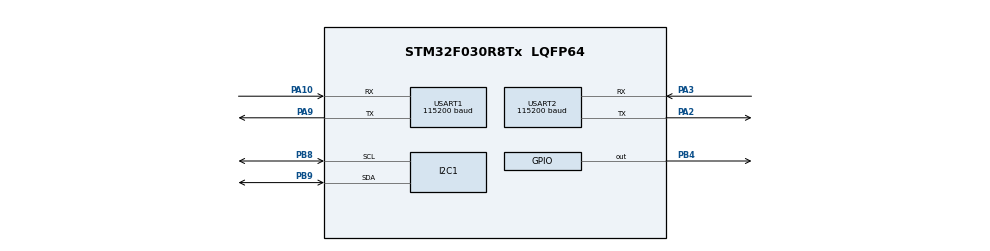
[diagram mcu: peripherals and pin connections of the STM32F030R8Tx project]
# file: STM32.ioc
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FREERTOS.Tasks01=defaultTask,0,512,StartDefaultTask,Default,NULL,Dynamic,NULL,NULL
FREERTOS.configUSE_TIMERS=0
Mcu.Family=STM32F0
Mcu.Name=STM32F030R8Tx
Mcu.Package=LQFP64
NVIC.RTC_IRQn=true\:3\:0\:false\:false\:true\:true\:true\:true
NVIC.TIM1_BRK_UP_TRG_COM_IRQn=true\:0\:0\:false\:false\:true\:false\:false\:true
NVIC.TimeBase=TIM1_BRK_UP_TRG_COM_IRQn
NVIC.TimeBaseIP=TIM1
PA10.Mode=Asynchronous
PA10.Signal=USART1_RX
PA2.Mode=Asynchronous
PA2.Signal=USART2_TX
PA3.Mode=Asynchronous
PA3.Signal=USART2_RX
PA9.Mode=Asynchronous
PA9.Signal=USART1_TX
PB4.Signal=GPIO_Output
PB8.Mode=I2C
PB8.Signal=I2C1_SCL
PB9.Mode=I2C
PB9.Signal=I2C1_SDA
ProjectManager.HeapSize=0x200
ProjectManager.StackSize=0x400
ProjectManager.TargetToolchain=SW4STM32
RTC.Alarm-Alarm\ A=RTC_ALARM_A
RTC.AlarmMaskDateWeekDay-Alarm\ A=RTC_ALARMMASK_DATEWEEKDAY
RTC.AlarmMaskHours-Alarm\ A=RTC_ALARMMASK_HOURS
RTC.Format=RTC_FORMAT_BIN
RTC.Minutes_A-Alarm\ A=1
RTC.Seconds_A-Alarm\ A=13
USART1.BaudRate=115200
USART1.VirtualMode-Asynchronous=VM_ASYNC
USART2.BaudRate=115200
USART2.VirtualMode-Asynchronous=VM_ASYNC
VP_FREERTOS_VS_CMSIS_V1.Mode=CMSIS_V1
VP_RTC_VS_RTC_Activate.Mode=RTC_Enabled
VP_RTC_VS_RTC_Alarm_A_Intern.Mode=Alarm A
VP_RTC_VS_RTC_Calendar.Mode=RTC_Calendar
VP_SYS_VS_tim1.Mode=TIM1
board=custom

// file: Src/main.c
/* USER CODE BEGIN Header */
/**
  ******************************************************************************
  * @file           : main.c
  * @brief          : Main program body
  ******************************************************************************
  * @attention
  *
  * <h2><center>&copy; Copyright (c) 2019 STMicroelectronics.
  * All rights reserved.</center></h2>
  *
  * This software component is licensed by ST under Ultimate Liberty license
  * SLA0044, the "License"; You may not use this file except in compliance with
  * the License. You may obtain a copy of the License at:
  *                             www.st.com/SLA0044
  *
  ******************************************************************************
  */
/* USER CODE END Header */

#include "main.h"
#include "cmsis_os.h"

/* USER CODE BEGIN Includes */

#include "SI7021.h"
#include "BMP280.h"
#include "ESP8266.h"

#include <string.h>
/* USER CODE END Includes */

/* USER CODE BEGIN PD */
#define PIN_ESP_WAKEUP GPIOB, GPIO_PIN_4
#define ESP_WAKEUP_TIME 7000

#define API_DOMAIN "weatherstationc.000webhostapp.com"
#define API_PORT 80
#define API_KEY "7JCUeYTF"

/* USER CODE END PD */

I2C_HandleTypeDef hi2c1;

RTC_HandleTypeDef hrtc;

UART_HandleTypeDef huart1;
UART_HandleTypeDef huart2;

osThreadId defaultTaskHandle;

void SystemClock_Config(void);
static void MX_GPIO_Init(void);
static void MX_I2C1_Init(void);
static void MX_USART1_UART_Init(void);
static void MX_USART2_UART_Init(void);
static void MX_RTC_Init(void);
void StartDefaultTask(void const * argument);

int main(void)
{

  /* MCU Configuration--------------------------------------------------------*/

  /* Reset of all peripherals, Initializes the Flash interface and the Systick. */
  HAL_Init();

  /* Configure the system clock */
  SystemClock_Config();

  /* Initialize all configured peripherals */
  MX_GPIO_Init();
  MX_I2C1_Init();
  MX_USART1_UART_Init();
  MX_USART2_UART_Init();
  MX_RTC_Init();

  /* Create the thread(s) */
  /* definition and creation of defaultTask */
  osThreadDef(defaultTask, StartDefaultTask, osPriorityNormal, 0, 512);
  defaultTaskHandle = osThreadCreate(osThread(defaultTask), NULL);

  /* Start scheduler */
  osKernelStart();

  /* We should never get here as control is now taken by the scheduler */

  /* Infinite loop */
  while (1)
  {

  }
}

void SystemClock_Config(void)
{
  RCC_OscInitTypeDef RCC_OscInitStruct = {0};
  RCC_ClkInitTypeDef RCC_ClkInitStruct = {0};
  RCC_PeriphCLKInitTypeDef PeriphClkInit = {0};

  /** Initializes the CPU, AHB and APB busses clocks
  */
  RCC_OscInitStruct.OscillatorType = RCC_OSCILLATORTYPE_HSI|RCC_OSCILLATORTYPE_LSI;
  RCC_OscInitStruct.HSIState = RCC_HSI_ON;
  RCC_OscInitStruct.HSICalibrationValue = RCC_HSICALIBRATION_DEFAULT;
  RCC_OscInitStruct.LSIState = RCC_LSI_ON;
  RCC_OscInitStruct.PLL.PLLState = RCC_PLL_NONE;
  if (HAL_RCC_OscConfig(&RCC_OscInitStruct) != HAL_OK)
  {
    Error_Handler();
  }
  /** Initializes the CPU, AHB and APB busses clocks
  */
  RCC_ClkInitStruct.ClockType = RCC_CLOCKTYPE_HCLK|RCC_CLOCKTYPE_SYSCLK
                              |RCC_CLOCKTYPE_PCLK1;
  RCC_ClkInitStruct.SYSCLKSource = RCC_SYSCLKSOURCE_HSI;
  RCC_ClkInitStruct.AHBCLKDivider = RCC_SYSCLK_DIV1;
  RCC_ClkInitStruct.APB1CLKDivider = RCC_HCLK_DIV1;

  if (HAL_RCC_ClockConfig(&RCC_ClkInitStruct, FLASH_LATENCY_0) != HAL_OK)
  {
    Error_Handler();
  }
  PeriphClkInit.PeriphClockSelection = RCC_PERIPHCLK_USART1|RCC_PERIPHCLK_I2C1
                              |RCC_PERIPHCLK_RTC;
  PeriphClkInit.Usart1ClockSelection = RCC_USART1CLKSOURCE_PCLK1;
  PeriphClkInit.I2c1ClockSelection = RCC_I2C1CLKSOURCE_HSI;
  PeriphClkInit.RTCClockSelection = RCC_RTCCLKSOURCE_LSI;
  if (HAL_RCCEx_PeriphCLKConfig(&PeriphClkInit) != HAL_OK)
  {
    Error_Handler();
  }
}

static void MX_I2C1_Init(void)
{

  hi2c1.Instance = I2C1;
  hi2c1.Init.Timing = 0x2000090E;
  hi2c1.Init.OwnAddress1 = 0;
  hi2c1.Init.AddressingMode = I2C_ADDRESSINGMODE_7BIT;
  hi2c1.Init.DualAddressMode = I2C_DUALADDRESS_DISABLE;
  hi2c1.Init.OwnAddress2 = 0;
  hi2c1.Init.OwnAddress2Masks = I2C_OA2_NOMASK;
  hi2c1.Init.GeneralCallMode = I2C_GENERALCALL_DISABLE;
  hi2c1.Init.NoStretchMode = I2C_NOSTRETCH_DISABLE;
  if (HAL_I2C_Init(&hi2c1) != HAL_OK)
  {
    Error_Handler();
  }
  /** Configure Analogue filter
  */
  if (HAL_I2CEx_ConfigAnalogFilter(&hi2c1, I2C_ANALOGFILTER_ENABLE) != HAL_OK)
  {
    Error_Handler();
  }
  /** Configure Digital filter
  */
  if (HAL_I2CEx_ConfigDigitalFilter(&hi2c1, 0) != HAL_OK)
  {
    Error_Handler();
  }

}

static void MX_RTC_Init(void)
{

  RTC_TimeTypeDef sTime = {0};
  RTC_DateTypeDef sDate = {0};
  RTC_AlarmTypeDef sAlarm = {0};

  /** Initialize RTC Only
  */
  hrtc.Instance = RTC;
  hrtc.Init.HourFormat = RTC_HOURFORMAT_24;
  hrtc.Init.AsynchPrediv = 127;
  hrtc.Init.SynchPrediv = 255;
  hrtc.Init.OutPut = RTC_OUTPUT_DISABLE;
  hrtc.Init.OutPutPolarity = RTC_OUTPUT_POLARITY_HIGH;
  hrtc.Init.OutPutType = RTC_OUTPUT_TYPE_OPENDRAIN;
  if (HAL_RTC_Init(&hrtc) != HAL_OK)
  {
    Error_Handler();
  }

  /** Initialize RTC and set the Time and Date
  */
  sTime.Hours = 0;
  sTime.Minutes = 0;
  sTime.Seconds = 0;
  sTime.DayLightSaving = RTC_DAYLIGHTSAVING_NONE;
  sTime.StoreOperation = RTC_STOREOPERATION_RESET;
  if (HAL_RTC_SetTime(&hrtc, &sTime, RTC_FORMAT_BIN) != HAL_OK)
  {
    Error_Handler();
  }
  sDate.WeekDay = RTC_WEEKDAY_MONDAY;
  sDate.Month = RTC_MONTH_JANUARY;
  sDate.Date = 1;
  sDate.Year = 0;

  if (HAL_RTC_SetDate(&hrtc, &sDate, RTC_FORMAT_BIN) != HAL_OK)
  {
    Error_Handler();
  }
  /** Enable the Alarm A
  */
  sAlarm.AlarmTime.Hours = 0;
  sAlarm.AlarmTime.Minutes = 1;
  sAlarm.AlarmTime.Seconds = 13;
  sAlarm.AlarmTime.SubSeconds = 0;
  sAlarm.AlarmTime.DayLightSaving = RTC_DAYLIGHTSAVING_NONE;
  sAlarm.AlarmTime.StoreOperation = RTC_STOREOPERATION_RESET;
  sAlarm.AlarmMask = RTC_ALARMMASK_DATEWEEKDAY|RTC_ALARMMASK_HOURS;
  sAlarm.AlarmSubSecondMask = RTC_ALARMSUBSECONDMASK_ALL;
  sAlarm.AlarmDateWeekDaySel = RTC_ALARMDATEWEEKDAYSEL_DATE;
  sAlarm.AlarmDateWeekDay = 1;
  sAlarm.Alarm = RTC_ALARM_A;
  if (HAL_RTC_SetAlarm_IT(&hrtc, &sAlarm, RTC_FORMAT_BIN) != HAL_OK)
  {
    Error_Handler();
  }

}

static void MX_USART1_UART_Init(void)
{

  huart1.Instance = USART1;
  huart1.Init.BaudRate = 115200;
  huart1.Init.WordLength = UART_WORDLENGTH_8B;
  huart1.Init.StopBits = UART_STOPBITS_1;
  huart1.Init.Parity = UART_PARITY_NONE;
  huart1.Init.Mode = UART_MODE_TX_RX;
  huart1.Init.HwFlowCtl = UART_HWCONTROL_NONE;
  huart1.Init.OverSampling = UART_OVERSAMPLING_16;
  huart1.Init.OneBitSampling = UART_ONE_BIT_SAMPLE_DISABLE;
  huart1.AdvancedInit.AdvFeatureInit = UART_ADVFEATURE_NO_INIT;
  if (HAL_UART_Init(&huart1) != HAL_OK)
  {
    Error_Handler();
  }

}

static void MX_USART2_UART_Init(void)
{

  huart2.Instance = USART2;
  huart2.Init.BaudRate = 115200;
  huart2.Init.WordLength = UART_WORDLENGTH_8B;
  huart2.Init.StopBits = UART_STOPBITS_1;
  huart2.Init.Parity = UART_PARITY_NONE;
  huart2.Init.Mode = UART_MODE_TX_RX;
  huart2.Init.HwFlowCtl = UART_HWCONTROL_NONE;
  huart2.Init.OverSampling = UART_OVERSAMPLING_16;
  huart2.Init.OneBitSampling = UART_ONE_BIT_SAMPLE_DISABLE;
  huart2.AdvancedInit.AdvFeatureInit = UART_ADVFEATURE_NO_INIT;
  if (HAL_UART_Init(&huart2) != HAL_OK)
  {
    Error_Handler();
  }

}

static void MX_GPIO_Init(void)
{
  GPIO_InitTypeDef GPIO_InitStruct = {0};

  /* GPIO Ports Clock Enable */
  __HAL_RCC_GPIOA_CLK_ENABLE();
  __HAL_RCC_GPIOB_CLK_ENABLE();

  /*Configure GPIO pin Output Level */
  HAL_GPIO_WritePin(GPIOB, GPIO_PIN_4, GPIO_PIN_RESET);

  /*Configure GPIO pin : PB4 */
  GPIO_InitStruct.Pin = GPIO_PIN_4;
  GPIO_InitStruct.Mode = GPIO_MODE_OUTPUT_PP;
  GPIO_InitStruct.Pull = GPIO_NOPULL;
  GPIO_InitStruct.Speed = GPIO_SPEED_FREQ_LOW;
  HAL_GPIO_Init(GPIOB, &GPIO_InitStruct);

}

/* USER CODE BEGIN 4 */

/* Send measurements to server using an ESP8266.
 * UART_HandleTypeDef* uart 	- Handle to the uart device that interfaces with the ESP8266.
 * char* ipaddress 				- Address of server to connect to, can be ip or domain name.
 * uint16_t port				- Port to connect to on server.
 * float temperature			- Temperature data to send.
 * float humidity				- Humidity data to send.
 */
void sendMeasurements(UART_HandleTypeDef* uart, float temperature, float humidity, float pressure)
{
	ESP8266_createTCPConnection(uart, API_DOMAIN, API_PORT, 1000);

	osDelay(4000);

	char http[140];
	snprintf(http, sizeof(http),"GET /connect.php?temperature=%i&humidity=%i&pressure=%i&key=%s HTTP/1.1\r\nHost: %s\r\n\r\n"
			, (int)(temperature*100), (int)(humidity*100), (int)(pressure*100), API_KEY, API_DOMAIN);

	ESP8266_sendData(uart, (uint8_t*)http, strlen(http), 1000);
}

void wakeupESP()
{
	HAL_GPIO_WritePin(PIN_ESP_WAKEUP, GPIO_PIN_RESET);
	osDelay(5);
	HAL_GPIO_WritePin(PIN_ESP_WAKEUP, GPIO_PIN_SET);
}

void enterSleep()
{
	__HAL_RCC_PWR_CLK_ENABLE();
	// Clear the wake-up flag.
	__HAL_PWR_CLEAR_FLAG(PWR_FLAG_WU);
	// Stop the timer that FreeRTOS uses because it will trigger a global interrupt.
	HAL_SuspendTick();
	// Enables stop mode. Returns from this function when global interrupt triggers.
	HAL_PWR_EnterSTOPMode(PWR_LOWPOWERREGULATOR_ON, PWR_STOPENTRY_WFI);
}

void resumeFromSleep()
{
	// Make sure all clocks are running again.
	SystemClock_Config();
	// Restart the timer for FreeRTOS
	HAL_ResumeTick();
}

/* USER CODE END 4 */

void StartDefaultTask(void const * argument)
{

  /* USER CODE BEGIN 5 */

	// Give the ESP8266 time to boot.
	osDelay(1000);

	//ESP8266_setMode(&huart1, ESP8266_MODE_STATION, 1, 1000);
	//ESP8266_connectToAP(&huart1, "DESKTOP-53SFJD8 6420", "75Jh&981", 1, 1000);

	BMP280_readCompensationRegisters(&hi2c1);

	for(;;)
	{
		float temperature, humidity, pressure;

		resumeFromSleep();

		wakeupESP();
		osDelay(ESP_WAKEUP_TIME); // Allow the ESP to wake up and connect to AP.

		SI7021_readHumidity(&hi2c1, &humidity, 1000);

		// Force a single measurement.
		BMP280_setConfigRegister(&hi2c1, BMP280_OVERSAMPLING_1, BMP280_OVERSAMPLING_1, BMP280_POWERMODE_FORCED);
		osDelay(20);
		BMP280_readTemperature(&hi2c1, &temperature, 1000);
		BMP280_readPressure(&hi2c1, &pressure, 1000);

		sendMeasurements(&huart1, temperature, humidity, pressure);

		osDelay(1000);

		ESP8266_deepSleep(&huart1);

		enterSleep();

		//vTaskDelayUntil( &xLastWakeTime, xFrequency );
	}
  /* USER CODE END 5 */
}

void HAL_TIM_PeriodElapsedCallback(TIM_HandleTypeDef *htim)
{
  if (htim->Instance == TIM1) {
    HAL_IncTick();
  }
}

void Error_Handler(void)
{
}

/************************ (C) COPYRIGHT STMicroelectronics *****END OF FILE****/
